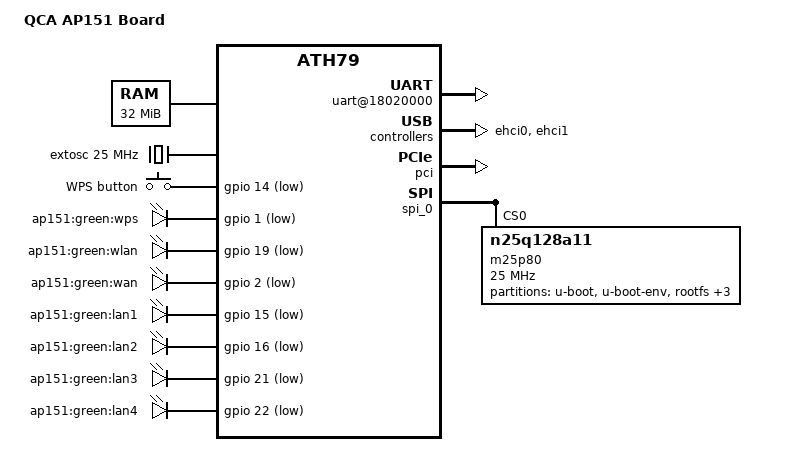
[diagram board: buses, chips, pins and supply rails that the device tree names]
/* Copyright (c) 2016, The Linux Foundation. All rights reserved.
 *
 * Permission to use, copy, modify, and/or distribute this software for any
 * purpose with or without fee is hereby granted, provided that the above
 * copyright notice and this permission notice appear in all copies.
 *
 * THE SOFTWARE IS PROVIDED "AS IS" AND THE AUTHOR DISCLAIMS ALL WARRANTIES
 * WITH REGARD TO THIS SOFTWARE INCLUDING ALL IMPLIED WARRANTIES OF
 * MERCHANTABILITY AND FITNESS. IN NO EVENT SHALL THE AUTHOR BE LIABLE FOR
 * ANY SPECIAL, DIRECT, INDIRECT, OR CONSEQUENTIAL DAMAGES OR ANY DAMAGES
 * WHATSOEVER RESULTING FROM LOSS OF USE, DATA OR PROFITS, WHETHER IN AN
 * ACTION OF CONTRACT, NEGLIGENCE OR OTHER TORTIOUS ACTION, ARISING OUT OF
 * OR IN CONNECTION WITH THE USE OR PERFORMANCE OF THIS SOFTWARE.
 *
 */

/dts-v1/;

#include <dt-bindings/gpio/gpio.h>
#include <dt-bindings/input/input.h>

#include "ath79.dtsi"

/ {
	compatible = "qca,ap151", "qca,ath79";
	model = "QCA AP151 Board";

	alias {
		serial0 = "/ahb/apb/uart@18020000";
	};

	memory@0 {
		device_type = "memory";
		reg = <0x0 0x2000000>;
	};

	extosc: oscillator {
		compatible = "fixed-clock";
		#clock-cells = <0>;
		clock-frequency = <25000000>;
	};

	ahb {
		apb {
			uart@18020000 {
				status = "okay";
			};

			pll-controller@18050000 {
				clocks = <&extosc>;
			};

			ehci0: usb@1b000000 {
				compatible = "generic-ehci", "ehci-platform";
				reg = <0x1b000000 0x200>;
				interrupt-parent = <&ip3_int>;
				interrupts = <0>;
				has-transaction-translator;
				qca_force_host_mode;
				qca_force_16bit_ptw;
				caps-offset = <0x100>;
				status = "okay";
			};

			ehci1: usb@1b400000 {
				compatible = "generic-ehci","ehci-platform";
				reg = <0x1b400000 0x200>;
				interrupt-parent = <&ip3_int>;
				interrupts = <1>;
				has-transaction-translator;
				qca_force_host_mode;
				qca_force_16bit_ptw;
				caps-offset = <0x100>;
				status = "okay";
			};

			pci: pci@0x16000000 {
				compatible = "qca,ar724x-pci";
				reg = <0x16000000 0x1000>,
				      <0x18280000 0x100>,
				      <0x18250000 0x1000>,
				      <0x12000000 0x02000000>,
					<1 1>;
				reg-names = "cfg_base","ctrl_base","crp_base",
						"mem_base","io_base";
				interrupt-parent = <&ip2_int>;
				interrupts = <0>;
				status = "okay";
			};
		};

		spi_0: spi@1f000000 {
			status = "okay";
			m25p80@0 {
				#address-cells = <1>;
				#size-cells = <1>;
				compatible = "n25q128a11";
				linux,modalias = "m25p80", "n25q128a11";
				reg = <0>;
				spi-max-frequency = <25000000>;

				partition@0 {
					label = "u-boot";
					reg = <0x000000 0x040000>;
				};

				partition@1 {
					label = "u-boot-env";
					reg = <0x040000 0x050000>;
				};

				partition@2 {
					label = "rootfs";
					reg = <0x050000 0xe80000>;
				};

				partition@3 {
					label = "kernel";
					reg = <0xe80000 0xff0000>;
				};

				partition@4 {
					label = "art";
					reg = <0xff0000 0x1000000>;
				};

				partition@5 {
					label = "firmware";
					reg = <0x50000 0xff0000>;
				};
			};
		};

	};

	gpio-keys-polled {
		compatible = "gpio-keys-polled";
		#address-cells = <1>;
		#size-cells = <0>;

		poll-interval = <20>;

		button@0 {
			label = "WPS button";
			linux,code = <KEY_WPS_BUTTON>;
			gpios = <&gpio 14 GPIO_ACTIVE_LOW>;
			debounce-interval = <60>;
		};
	};

	leds {
		compatible = "gpio-leds";
		led@0 {
			label = "ap151:green:wps";
			gpios = <&gpio 1 GPIO_ACTIVE_LOW>;
		};

		led@1 {
			label = "ap151:green:wlan";
			gpios = <&gpio 19 GPIO_ACTIVE_LOW>;
		};

		led@2 {
			label = "ap151:green:wan";
			gpios = <&gpio 2 GPIO_ACTIVE_LOW>;
		};

		led@3 {
			label = "ap151:green:lan1";
			gpios = <&gpio 15 GPIO_ACTIVE_LOW>;
		};

		led@4 {
			label = "ap151:green:lan2";
			gpios = <&gpio 16 GPIO_ACTIVE_LOW>;
		};

		led@5 {
			label = "ap151:green:lan3";
			gpios = <&gpio 21 GPIO_ACTIVE_LOW>;
		};

		led@6 {
			label = "ap151:green:lan4";
			gpios = <&gpio 22 GPIO_ACTIVE_LOW>;
		};
	};
};
